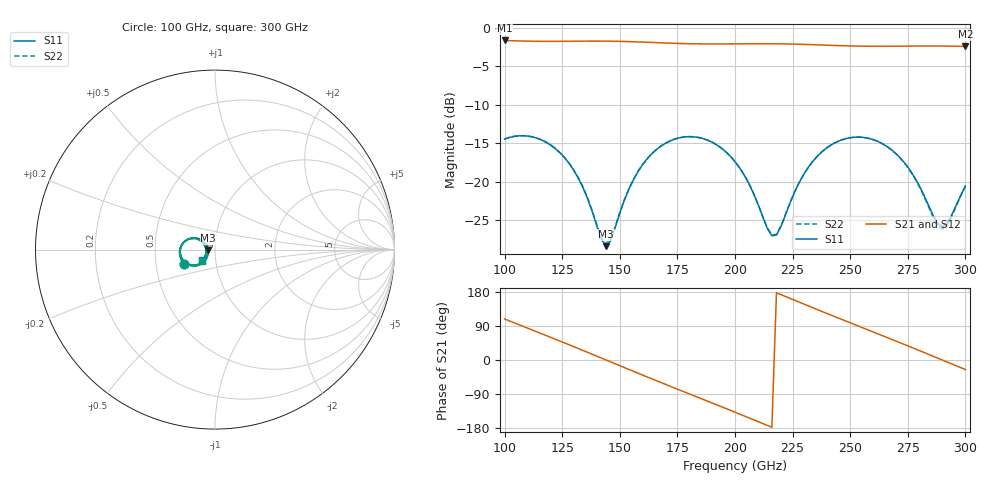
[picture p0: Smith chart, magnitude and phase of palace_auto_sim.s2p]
#  GHZ S DB R 50
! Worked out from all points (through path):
!   101 points, 100 GHz to 300 GHz, reference 50 ohm
!   highest |S21| = -1.66 dB at 100 GHz (marker M1); lowest = -2.4 dB at 300 GHz (marker M2)
!   group delay of S21, straight-line fit = 6.86 ps
!   lowest |S11| = -28.4 dB at 144 GHz (marker M3), VSWR 1.08, Z = 46.3 - j0.308 ohm
!   |S11| at or under -10 dB: start of sweep to end of sweep
!   |S22| runs from -28.1 to -14.0 dB; largest |S21 - S12| = 9.1e-14
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100  -14.47 -155.8  -1.66 108.3  -1.66 108.3  -14.46 -155.6
108  -14.03 -172.3  -1.73 88.9  -1.73 88.9  -14.02 -172.1
116  -14.58 171.5  -1.77 69.5  -1.77 69.5  -14.56 171.8
126  -16.87 153.2  -1.76 45.1  -1.76 45.1  -16.85 153.7
134  -20.75 144.3  -1.74 25.3  -1.74 25.3  -20.70 145.0
144  -28.37 -175.0  -1.75 0.2  -1.75 0.2  -28.10 -174.9
156  -19.69 -132.4  -1.83 -30.0  -1.83 -30.0  -19.65 -132.8
168  -15.35 -150.2  -1.96 -59.8  -1.96 -59.8  -15.33 -150.3
176  -14.29 -165.4  -2.05 -79.4  -2.05 -79.4  -14.28 -165.4
184  -14.25 179.1  -2.10 -98.8  -2.10 -98.8  -14.24 179.2
200  -17.40 151.5  -2.10 -137.8  -2.10 -137.8  -17.38 151.7
208  -21.50 146.4  -2.08 -157.6  -2.08 -157.6  -21.47 146.7
216  -27.03 178.2  -2.08 -177.6  -2.08 -177.6  -26.93 178.3
218  -26.91 -164.8  -2.09 177.4  -2.09 177.4  -26.83 -164.9
224  -22.67 -137.6  -2.12 162.3  -2.12 162.3  -22.64 -137.8
234  -17.28 -141.5  -2.21 137.4  -2.21 137.4  -17.27 -141.6
250  -14.28 -168.6  -2.37 98.2  -2.37 98.2  -14.29 -168.6
258  -14.37 176.7  -2.41 78.8  -2.41 78.8  -14.37 176.7
268  -15.86 159.7  -2.41 54.5  -2.41 54.5  -15.89 159.5
280  -20.54 148.7  -2.38 24.9  -2.38 24.9  -20.63 148.3
290  -25.84 -175.8  -2.38 -0.1  -2.38 -0.1  -26.15 -175.1
300  -20.54 -140.6  -2.44 -25.1  -2.44 -25.1  -20.60 -139.1
